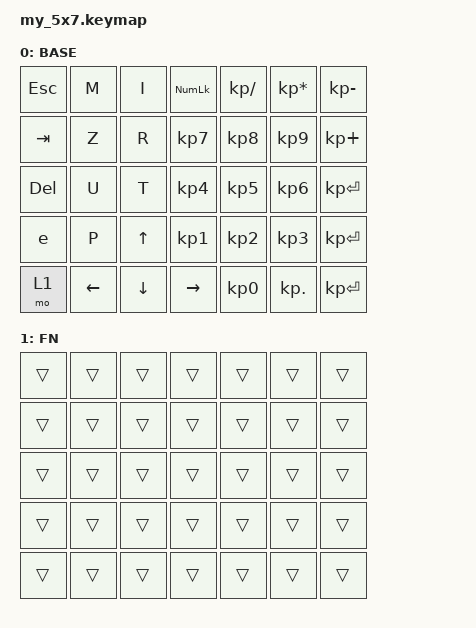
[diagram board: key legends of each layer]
#include <behaviors.dtsi>
#include <dt-bindings/zmk/keys.h>
#include <dt-bindings/zmk/bt.h>
#include <dt-bindings/zmk/outputs.h>

/ {
    keymap {
        compatible = "zmk,keymap";

        base_layer {
            label = "BASE";
            bindings = <
                &kp ESC    &kp M       &kp I      &kp KP_NUMLOCK     &kp KP_SLASH       &kp KP_MULTIPLY    &kp KP_MINUS
                &kp TAB    &kp Z       &kp R      &kp KP_NUMBER_7    &kp KP_NUMBER_8    &kp KP_NUMBER_9    &kp KP_PLUS
                &kp DEL    &kp U       &kp T      &kp KP_NUMBER_4    &kp KP_NUMBER_5    &kp KP_NUMBER_6    &kp KP_ENTER
                &kp e      &kp P       &kp UP     &kp KP_NUMBER_1    &kp KP_NUMBER_2    &kp KP_NUMBER_3    &kp KP_ENTER
                &mo 1      &kp LEFT    &kp DOWN   &kp RIGHT          &kp KP_NUMBER_0    &kp KP_DOT         &kp KP_ENTER

            >;
        };

        fn_layer {
            label = "FN";
            bindings = <
                &trans &trans &trans &trans &trans &trans &trans
                &trans &trans &trans &trans &trans &trans &trans
                &trans &trans &trans &trans &trans &trans &trans
                &trans &trans &trans &trans &trans &trans &trans
                &trans &trans &trans &trans &trans &trans &trans
               
            >;
        };
    };
};
